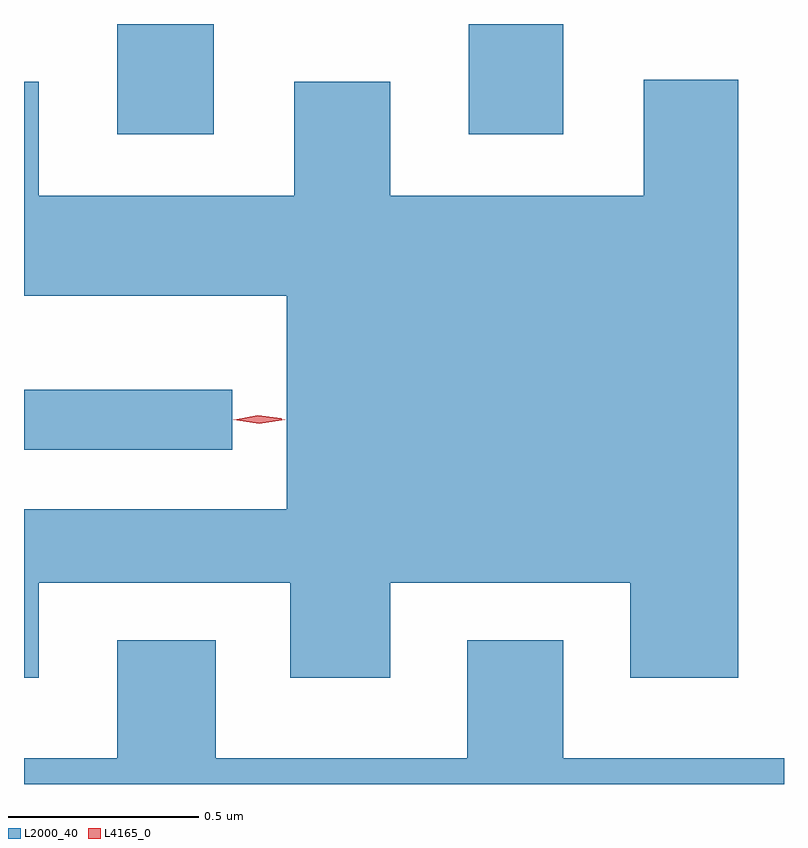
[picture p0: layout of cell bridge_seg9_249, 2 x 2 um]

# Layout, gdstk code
import gdstk
lib = gdstk.Library(unit=1e-6, precision=1e-09)
def R(c, l, rs):  # rectangles x0, y0, x1, y1
    for r in rs: c.add(gdstk.rectangle(r[:2], r[2:], *l))
def P(c, l, *ps):  # polygons
    for p in ps: c.add(gdstk.Polygon(p, *l))
L2000_40 = (2000, 40)
L4165_0 = (4165, 0)

bridge_seg9_249 = lib.new_cell('bridge_seg9_249')
R(bridge_seg9_249, L2000_40, [(1446.19,1961.816,1446.738,1961.974), (1446.436,1962.646,1446.689,1962.936), (1447.361,1962.646,1447.609,1962.936)])
P(bridge_seg9_249, L2000_40, [(1446.229,1961.466),(1446.891,1961.466),(1446.891,1961.216),(1447.154,1961.216),(1447.154,1961.466),(1447.786,1961.466),(1447.786,1961.216),(1448.069,1961.216),(1448.069,1962.789),(1447.821,1962.789),(1447.821,1962.484),(1447.154,1962.484),(1447.154,1962.784),(1446.901,1962.784),(1446.901,1962.484),(1446.229,1962.484),(1446.229,1962.784),(1446.19,1962.784),(1446.19,1962.221),(1446.881,1962.221),(1446.881,1961.659),(1446.19,1961.659),(1446.19,1961.216),(1446.229,1961.216)],
  [(1448.19,1961.004),(1447.609,1961.004),(1447.609,1961.314),(1447.356,1961.314),(1447.356,1961.004),(1446.694,1961.004),(1446.694,1961.314),(1446.436,1961.314),(1446.436,1961.004),(1446.19,1961.004),(1446.19,1960.936),(1448.19,1960.936)])
P(bridge_seg9_249, L4165_0, [(1446.809,1961.884),(1446.74,1961.894),(1446.74,1961.894),(1446.74,1961.894),(1446.809,1961.904),(1446.877,1961.894),(1446.878,1961.894),(1446.877,1961.894)],
  [(1446.805,1961.886),(1446.743,1961.894),(1446.743,1961.895),(1446.743,1961.895),(1446.805,1961.906),(1446.867,1961.898),(1446.868,1961.897),(1446.867,1961.897)])

lib.write_gds('bridge_seg9_249.gds')
